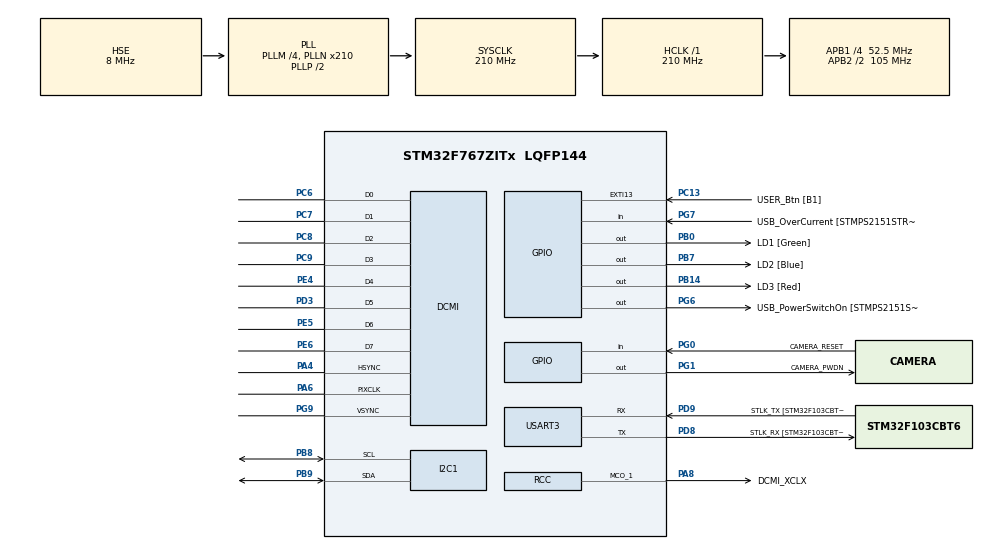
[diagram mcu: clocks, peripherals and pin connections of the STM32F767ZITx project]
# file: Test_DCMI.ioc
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Mcu.Family=STM32F7
NVIC.USART3_IRQn=true\:0\:0\:false\:false\:true\:true\:true
PA6.Mode=Slave_8_bits_External_Synchro
RCC.CortexFreq_Value=210000000
DCMI.HSPolarity=DCMI_HSPOLARITY_LOW
PG6.Signal=GPIO_Output
Dma.USART3_TX.1.MemInc=DMA_MINC_ENABLE
PB14.GPIO_Label=LD3 [Red]
PG6.GPIO_Label=USB_PowerSwitchOn [STMPS2151STR_EN]
PA14.GPIO_Label=TCK
PG0.Signal=GPIO_Input
RCC.SYSCLKSourceVirtual=RCC_SYSCLKSOURCE_PLLCLK
Dma.USART3_TX.1.PeriphDataAlignment=DMA_PDATAALIGN_BYTE
PB0.GPIO_Label=LD1 [Green]
PC14/OSC32_IN.Mode=LSE-External-Oscillator
Dma.DCMI.0.MemBurst=DMA_MBURST_SINGLE
Dma.USART3_TX.1.Instance=DMA1_Stream3
PC13.GPIO_Label=USER_Btn [B1]
PD9.Mode=Asynchronous
RCC.SYSCLKSource=RCC_SYSCLKSOURCE_PLLCLK
ProjectManager.StackSize=0x400
Dma.DCMI.0.FIFOMode=DMA_FIFOMODE_ENABLE
Dma.DCMI.0.MemDataAlignment=DMA_MDATAALIGN_BYTE
USART3.VirtualMode-Asynchronous=VM_ASYNC
Dma.DCMI.0.FIFOThreshold=DMA_FIFO_THRESHOLD_FULL
Dma.DCMI.0.MemInc=DMA_MINC_ENABLE
PA4.Mode=Slave_8_bits_External_Synchro
Dma.DCMI.0.PeriphDataAlignment=DMA_PDATAALIGN_WORD
PH0/OSC_IN.Mode=HSE-External-Clock-Source
RCC.HCLKFreq_Value=210000000
RCC.APB2TimFreq_Value=210000000
DCMI.VSPolarity=DCMI_VSPOLARITY_LOW
PC7.Signal=DCMI_D1
PH1/OSC_OUT.Signal=RCC_OSC_OUT
PD8.Signal=USART3_TX
PE5.Signal=DCMI_D6
RCC.AHBFreq_Value=210000000
RCC.HSE_VALUE=8000000
Dma.USART3_TX.1.Mode=DMA_NORMAL
RCC.PLLMUL=RCC_PLL_MUL9
DCMI.PCKPolarity=DCMI_PCKPOLARITY_RISING
PA14.Mode=Serial_Wire
PC9.Mode=Slave_8_bits_External_Synchro
PB7.Signal=GPIO_Output
PA8.Signal=RCC_MCO_1
Dma.DCMI.0.PeriphBurst=DMA_PBURST_SINGLE
PE4.Mode=Slave_8_bits_External_Synchro
PD3.Mode=Slave_8_bits_External_Synchro
PE4.Signal=DCMI_D4
PH1/OSC_OUT.Mode=HSE-External-Clock-Source
Dma.USART3_TX.1.FIFOMode=DMA_FIFOMODE_ENABLE
Dma.USART3_TX.1.Priority=DMA_PRIORITY_VERY_HIGH
PB7.GPIO_Label=LD2 [Blue]
Mcu.Package=LQFP144
PB9.Signal=I2C1_SDA
PA6.Signal=DCMI_PIXCLK
Dma.DCMI.0.Direction=DMA_PERIPH_TO_MEMORY
PC14/OSC32_IN.Signal=RCC_OSC32_IN
PG0.GPIO_Label=CAMERA_RESET
RCC.APB2CLKDivider=RCC_HCLK_DIV2
Dma.Request1=USART3_TX
RCC.APB1TimFreq_Value=105000000
Dma.USART3_TX.1.PeriphInc=DMA_PINC_DISABLE
Dma.USART3_TX.1.PeriphBurst=DMA_PBURST_SINGLE
VP_LIBJPEG_VS_JPEGLIB.Mode=Enabled
Dma.Request0=DCMI
PA8.GPIO_Speed=GPIO_SPEED_FREQ_VERY_HIGH
Dma.USART3_TX.1.FIFOThreshold=DMA_FIFO_THRESHOLD_FULL
RCC.PLLSourceVirtual=RCC_PLLSOURCE_HSE
Dma.USART3_TX.1.MemDataAlignment=DMA_MDATAALIGN_BYTE
PG7.Signal=GPIO_Input
PD9.GPIO_Label=STLK_TX [STM32F103CBT6_PA2]
PG1.Signal=GPIO_Output
PG9.Signal=DCMI_VSYNC
PC13.Signal=GPXTI13
Dma.USART3_TX.1.MemBurst=DMA_MBURST_SINGLE
PD3.Signal=DCMI_D5
PC8.Signal=DCMI_D2
PG9.Mode=Slave_8_bits_External_Synchro
PC6.Signal=DCMI_D0
PD9.Signal=USART3_RX
NVIC.DMA2_Stream1_IRQn=true\:0\:0\:false\:false\:true\:false\:true
RCC.APB1CLKDivider=RCC_HCLK_DIV4
PD8.GPIO_Label=STLK_RX [STM32F103CBT6_PA3]
PA13.Signal=SYS_JTMS-SWDIO
PA8.GPIO_Label=DCMI_XCLX
ProjectManager.TargetToolchain=STM32CubeIDE
PC6.Mode=Slave_8_bits_External_Synchro
PB9.Mode=I2C
Dma.DCMI.0.Instance=DMA2_Stream1
Dma.DCMI.0.Mode=DMA_CIRCULAR
I2C1.Timing=0x1060669A
RCC.USBFreq_Value=46666666.666666664
PD8.Mode=Asynchronous
DCMI.JPEGMode=DCMI_JPEG_ENABLE
PB14.Signal=GPIO_Output
board=NUCLEO-F767ZI
RCC.VCOOutputFreq_Value=420000000
PG1.GPIO_Label=CAMERA_PWDN
PH0/OSC_IN.Signal=RCC_OSC_IN
RCC.APB2Freq_Value=105000000
PE6.Mode=Slave_8_bits_External_Synchro
RCC.PRESCALERUSB=RCC_USBCLKSOURCE_PLL_DIV1_5
PG7.GPIO_Label=USB_OverCurrent [STMPS2151STR_FAULT]
PE5.Mode=Slave_8_bits_External_Synchro
PE6.Signal=DCMI_D7
PA13.Mode=Serial_Wire
Mcu.Name=STM32F767ZITx
PA13.GPIO_Label=TMS
PC8.Mode=Slave_8_bits_External_Synchro
RCC.48MHZClocksFreq_Value=24000000
PA4.Signal=DCMI_HSYNC
RCC.SYSCLKFreq_VALUE=210000000
PC15/OSC32_OUT.Mode=LSE-External-Oscillator
PA14.Signal=SYS_JTCK-SWCLK
ProjectManager.HeapSize=0x200
RCC.HSI_VALUE=16000000
PH0/OSC_IN.GPIO_Label=MCO [STM32F103CBT6_PA8]
RCC.PLLQ=9
NVIC.PriorityGroup=NVIC_PRIORITYGROUP_4
Dma.USART3_TX.1.Direction=DMA_MEMORY_TO_PERIPH
RCC.PLLM=4
PB8.Mode=I2C
RCC.PLLN=210
PB8.Signal=I2C1_SCL
NVIC.DMA1_Stream3_IRQn=true\:0\:0\:false\:false\:true\:false\:true
PC15/OSC32_OUT.Signal=RCC_OSC32_OUT
PA8.Mode=Clock-out-1
Dma.DCMI.0.PeriphInc=DMA_PINC_DISABLE
PC9.Signal=DCMI_D3
NVIC.DCMI_IRQn=true\:0\:0\:false\:false\:true\:true\:true
PC7.Mode=Slave_8_bits_External_Synchro
RCC.APB1Freq_Value=52500000
PB0.Signal=GPIO_Output
Dma.DCMI.0.Priority=DMA_PRIORITY_VERY_HIGH

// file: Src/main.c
/* USER CODE BEGIN Header */
/**
 ******************************************************************************
 * @file           : main.c
 * @brief          : Main program body
 ******************************************************************************
 * @attention
 *
 * 	Created on: 23.02.2019
 *	Modified on:  23.02.2021
 *
 *	Copyright 2021 SimpleMethod
 *
 *Permission is hereby granted, free of charge, to any person obtaining a copy of
 *this software and associated documentation files (the "Software"), to deal in
 *the Software without restriction, including without limitation the rights to
 *use, copy, modify, merge, publish, distribute, sublicense, and/or sell copies
 *of the Software, and to permit persons to whom the Software is furnished to do
 *so, subject to the following conditions:
 *
 *The above copyright notice and this permission notice shall be included in all
 *copies or substantial portions of the Software.
 *
 *THE SOFTWARE IS PROVIDED "AS IS", WITHOUT WARRANTY OF ANY KIND, EXPRESS OR
 *IMPLIED, INCLUDING BUT NOT LIMITED TO THE WARRANTIES OF MERCHANTABILITY,
 *FITNESS FOR A PARTICULAR PURPOSE AND NONINFRINGEMENT. IN NO EVENT SHALL THE
 *AUTHORS OR COPYRIGHT HOLDERS BE LIABLE FOR ANY CLAIM, DAMAGES OR OTHER
 *LIABILITY, WHETHER IN AN ACTION OF CONTRACT, TORT OR OTHERWISE, ARISING FROM,
 *OUT OF OR IN CONNECTION WITH THE SOFTWARE OR THE USE OR OTHER DEALINGS IN
 *THE SOFTWARE.
 ******************************************************************************
 */
/* USER CODE END Header */
#include "main.h"
#include "libjpeg.h"

/* USER CODE BEGIN Includes */
#include <stdio.h>
#include <stdarg.h>
#include <string.h>
#include <stdlib.h>
#include "ov2640.h"
#include "ov2640_libjpeg.h"
/* USER CODE END Includes */

/* USER CODE BEGIN PD */

/**
 * Code debugging option
 */
//#define DEBUG
/* USER CODE END PD */

DCMI_HandleTypeDef hdcmi;
DMA_HandleTypeDef hdma_dcmi;

I2C_HandleTypeDef hi2c1;

UART_HandleTypeDef huart3;
DMA_HandleTypeDef hdma_usart3_tx;

/* USER CODE BEGIN PV */

/**
 * Resolution selection
 */

//#define RES160X120
#define RES320X240
//#define RES640X480
//#define RES800x600
//#define RES1024x768
//#define RES1280x960

#ifdef RES160X120
enum imageResolution imgRes=RES_160X120;
uint8_t frameBuffer[RES_160X120] = { 0 };
#endif

#ifdef RES320X240
enum imageResolution imgRes = RES_320X240;
uint8_t frameBuffer[RES_320X240] = { 0 };
#endif

#ifdef RES640X480
enum imageResolution imgRes=RES_640X480;
uint8_t frameBuffer[RES_640X480] = { 0 };
#endif

#ifdef RES800x600
enum imageResolution imgRes=RES_800x600;
uint8_t frameBuffer[RES_800x600] = { 0 };
#endif

#ifdef RES1024x768
enum imageResolution imgRes=RES_1024x768;
uint8_t frameBuffer[RES_1024x768] = { 0 };
#endif

#ifdef RES1280x960
enum imageResolution imgRes = RES_1280x960;
uint8_t frameBuffer[RES_1280x960] = { 0 };
#endif

ushort mutex = 0;
uint16_t bufferPointer = 0;
ushort headerFound = 0;
uint8_t data_receive;

/**
 *  Image decoding and encoding section using the libjpeg library.
 */
unsigned long imageSize = 0;
uint8_t *imageBuffer = NULL;
/**
 *=================================================================
 */

/* USER CODE END PV */

void SystemClock_Config(void);
static void MX_GPIO_Init(void);
static void MX_DMA_Init(void);
static void MX_USART3_UART_Init(void);
static void MX_DCMI_Init(void);
static void MX_I2C1_Init(void);

/* USER CODE BEGIN 0 */
void vprint(const char *fmt, va_list argp) {
	char string[200];
	if (0 < vsprintf(string, fmt, argp)) // build string
			{
		HAL_UART_Transmit(&huart3, (uint8_t*) string, strlen(string), 0xffffff); // send message via UART
	}
}

void my_printf(const char *fmt, ...) // custom printf() function
{
	va_list argp;
	va_start(argp, fmt);
	vprint(fmt, argp);
	va_end(argp);
}
/* USER CODE END 0 */

int main(void) {

	/* MCU Configuration--------------------------------------------------------*/

	/* Reset of all peripherals, Initializes the Flash interface and the Systick. */
	HAL_Init();

	/* Configure the system clock */
	SystemClock_Config();

	/* Initialize all configured peripherals */
	MX_GPIO_Init();
	MX_DMA_Init();
	MX_USART3_UART_Init();
	MX_DCMI_Init();
	MX_I2C1_Init();
	MX_LIBJPEG_Init();
	/* USER CODE BEGIN 2 */
	OV2640_Init(&hi2c1, &hdcmi);
	HAL_Delay(10);
	OV2640_ResolutionOptions(imgRes);
	HAL_Delay(10);

	/**
	 * Extra options
	 */
	//OV2640_Brightness(Brightness_2);
	//HAL_Delay(10);
	//OV2640_Saturation(Saturation_2);
	//HAL_Delay(10);
	//OV2640_Contrast(Contrast_2);
	//HAL_Delay(10);
	//OV2640_SpecialEffect(Bluish);
	//HAL_Delay(10);
	OV2640_LightMode(Office);
	HAL_Delay(10);
#ifdef DEBUG
	my_printf("Finishing configuration \r\n");
#endif

	HAL_UART_Receive_IT(&huart3, &data_receive, 1);

	/* USER CODE END 2 */

	/* Infinite loop */
	/* USER CODE BEGIN WHILE */

	while (1) {

		if (data_receive == 0x63) { // Reading the c ASCII character in UART buffer takes photo capture.
			memset(frameBuffer, 0, sizeof frameBuffer);
			OV2640_CaptureSnapshot((uint32_t) frameBuffer, imgRes);
			while (1) {
				if (headerFound == 0 && frameBuffer[bufferPointer] == 0xFF
						&& frameBuffer[bufferPointer + 1] == 0xD8) {
					headerFound = 1;
#ifdef NEDEBUG
						my_printf("Found header of JPEG file \r\n");
					#endif
				}
				if (headerFound == 1 && frameBuffer[bufferPointer] == 0xFF
						&& frameBuffer[bufferPointer + 1] == 0xD9) {
					bufferPointer = bufferPointer + 2;
#ifdef NEDEBUG
						my_printf("Found EOI of JPEG file \r\n");
						#endif
					headerFound = 0;
					break;
				}
				if (bufferPointer >= 65535) {
					break;
				}
				bufferPointer++;
			}
#ifdef NEDEBUG
						my_printf("Image size: %d bytes \r\n",bufferPointer);
					#endif

			/**
			 *  Image decoding and encoding section using the libjpeg library.
			 *
			 */
			ov2640_decodeJPEG(frameBuffer, bufferPointer, 1); // Image decoding, grayscale selection.
			HAL_Delay(300);
			ov2640_encodeJPEG(&imageBuffer, &imageSize, 16); // Encoding image with quality set to 16%.
			HAL_UART_Transmit_DMA(&huart3, imageBuffer, imageSize); // Sending buffer to UART data output.
			HAL_Delay(300);
			/**
			 * ========================================================================
			 */
			bufferPointer = 0;
			mutex = 0;
			data_receive = 0xFF;
		} else {
			mutex = 1;
		}
		/* USER CODE END WHILE */

	}
}

void SystemClock_Config(void) {
	RCC_OscInitTypeDef RCC_OscInitStruct = { 0 };
	RCC_ClkInitTypeDef RCC_ClkInitStruct = { 0 };
	RCC_PeriphCLKInitTypeDef PeriphClkInitStruct = { 0 };

	/** Configure LSE Drive Capability
	 */
	HAL_PWR_EnableBkUpAccess();
	/** Configure the main internal regulator output voltage
	 */
	__HAL_RCC_PWR_CLK_ENABLE();
	__HAL_PWR_VOLTAGESCALING_CONFIG(PWR_REGULATOR_VOLTAGE_SCALE1);
	/** Initializes the RCC Oscillators according to the specified parameters
	 * in the RCC_OscInitTypeDef structure.
	 */
	RCC_OscInitStruct.OscillatorType = RCC_OSCILLATORTYPE_HSI
			| RCC_OSCILLATORTYPE_HSE;
	RCC_OscInitStruct.HSEState = RCC_HSE_BYPASS;
	RCC_OscInitStruct.HSIState = RCC_HSI_ON;
	RCC_OscInitStruct.HSICalibrationValue = RCC_HSICALIBRATION_DEFAULT;
	RCC_OscInitStruct.PLL.PLLState = RCC_PLL_ON;
	RCC_OscInitStruct.PLL.PLLSource = RCC_PLLSOURCE_HSE;
	RCC_OscInitStruct.PLL.PLLM = 4;
	RCC_OscInitStruct.PLL.PLLN = 210;
	RCC_OscInitStruct.PLL.PLLP = RCC_PLLP_DIV2;
	RCC_OscInitStruct.PLL.PLLQ = 9;
	if (HAL_RCC_OscConfig(&RCC_OscInitStruct) != HAL_OK) {
		Error_Handler();
	}
	/** Activate the Over-Drive mode
	 */
	if (HAL_PWREx_EnableOverDrive() != HAL_OK) {
		Error_Handler();
	}
	/** Initializes the CPU, AHB and APB buses clocks
	 */
	RCC_ClkInitStruct.ClockType = RCC_CLOCKTYPE_HCLK | RCC_CLOCKTYPE_SYSCLK
			| RCC_CLOCKTYPE_PCLK1 | RCC_CLOCKTYPE_PCLK2;
	RCC_ClkInitStruct.SYSCLKSource = RCC_SYSCLKSOURCE_PLLCLK;
	RCC_ClkInitStruct.AHBCLKDivider = RCC_SYSCLK_DIV1;
	RCC_ClkInitStruct.APB1CLKDivider = RCC_HCLK_DIV4;
	RCC_ClkInitStruct.APB2CLKDivider = RCC_HCLK_DIV2;

	if (HAL_RCC_ClockConfig(&RCC_ClkInitStruct, FLASH_LATENCY_6) != HAL_OK) {
		Error_Handler();
	}
	PeriphClkInitStruct.PeriphClockSelection = RCC_PERIPHCLK_USART3
			| RCC_PERIPHCLK_I2C1;
	PeriphClkInitStruct.Usart3ClockSelection = RCC_USART3CLKSOURCE_PCLK1;
	PeriphClkInitStruct.I2c1ClockSelection = RCC_I2C1CLKSOURCE_PCLK1;
	if (HAL_RCCEx_PeriphCLKConfig(&PeriphClkInitStruct) != HAL_OK) {
		Error_Handler();
	}
	HAL_RCC_MCOConfig(RCC_MCO1, RCC_MCO1SOURCE_HSI, RCC_MCODIV_1);
}

static void MX_DCMI_Init(void) {

	hdcmi.Instance = DCMI;
	hdcmi.Init.SynchroMode = DCMI_SYNCHRO_HARDWARE;
	hdcmi.Init.PCKPolarity = DCMI_PCKPOLARITY_RISING;
	hdcmi.Init.VSPolarity = DCMI_VSPOLARITY_LOW;
	hdcmi.Init.HSPolarity = DCMI_HSPOLARITY_LOW;
	hdcmi.Init.CaptureRate = DCMI_CR_ALL_FRAME;
	hdcmi.Init.ExtendedDataMode = DCMI_EXTEND_DATA_8B;
	hdcmi.Init.JPEGMode = DCMI_JPEG_ENABLE;
	hdcmi.Init.ByteSelectMode = DCMI_BSM_ALL;
	hdcmi.Init.ByteSelectStart = DCMI_OEBS_ODD;
	hdcmi.Init.LineSelectMode = DCMI_LSM_ALL;
	hdcmi.Init.LineSelectStart = DCMI_OELS_ODD;
	if (HAL_DCMI_Init(&hdcmi) != HAL_OK) {
		Error_Handler();
	}

}

static void MX_I2C1_Init(void) {

	hi2c1.Instance = I2C1;
	hi2c1.Init.Timing = 0x1060669A;
	hi2c1.Init.OwnAddress1 = 0;
	hi2c1.Init.AddressingMode = I2C_ADDRESSINGMODE_7BIT;
	hi2c1.Init.DualAddressMode = I2C_DUALADDRESS_DISABLE;
	hi2c1.Init.OwnAddress2 = 0;
	hi2c1.Init.OwnAddress2Masks = I2C_OA2_NOMASK;
	hi2c1.Init.GeneralCallMode = I2C_GENERALCALL_DISABLE;
	hi2c1.Init.NoStretchMode = I2C_NOSTRETCH_DISABLE;
	if (HAL_I2C_Init(&hi2c1) != HAL_OK) {
		Error_Handler();
	}
	/** Configure Analogue filter
	 */
	if (HAL_I2CEx_ConfigAnalogFilter(&hi2c1, I2C_ANALOGFILTER_ENABLE)
			!= HAL_OK) {
		Error_Handler();
	}
	/** Configure Digital filter
	 */
	if (HAL_I2CEx_ConfigDigitalFilter(&hi2c1, 0) != HAL_OK) {
		Error_Handler();
	}

}

static void MX_USART3_UART_Init(void) {

	huart3.Instance = USART3;
	huart3.Init.BaudRate = 115200;
	huart3.Init.WordLength = UART_WORDLENGTH_8B;
	huart3.Init.StopBits = UART_STOPBITS_1;
	huart3.Init.Parity = UART_PARITY_NONE;
	huart3.Init.Mode = UART_MODE_TX_RX;
	huart3.Init.HwFlowCtl = UART_HWCONTROL_NONE;
	huart3.Init.OverSampling = UART_OVERSAMPLING_16;
	huart3.Init.OneBitSampling = UART_ONE_BIT_SAMPLE_DISABLE;
	huart3.AdvancedInit.AdvFeatureInit = UART_ADVFEATURE_NO_INIT;
	if (HAL_UART_Init(&huart3) != HAL_OK) {
		Error_Handler();
	}

}

static void MX_DMA_Init(void) {

	/* DMA controller clock enable */
	__HAL_RCC_DMA2_CLK_ENABLE();
	__HAL_RCC_DMA1_CLK_ENABLE();

	/* DMA interrupt init */
	/* DMA1_Stream3_IRQn interrupt configuration */
	HAL_NVIC_SetPriority(DMA1_Stream3_IRQn, 0, 0);
	HAL_NVIC_EnableIRQ(DMA1_Stream3_IRQn);
	/* DMA2_Stream1_IRQn interrupt configuration */
	HAL_NVIC_SetPriority(DMA2_Stream1_IRQn, 0, 0);
	HAL_NVIC_EnableIRQ(DMA2_Stream1_IRQn);

}

static void MX_GPIO_Init(void) {
	GPIO_InitTypeDef GPIO_InitStruct = { 0 };

	/* GPIO Ports Clock Enable */
	__HAL_RCC_GPIOE_CLK_ENABLE();
	__HAL_RCC_GPIOC_CLK_ENABLE();
	__HAL_RCC_GPIOH_CLK_ENABLE();
	__HAL_RCC_GPIOA_CLK_ENABLE();
	__HAL_RCC_GPIOB_CLK_ENABLE();
	__HAL_RCC_GPIOG_CLK_ENABLE();
	__HAL_RCC_GPIOD_CLK_ENABLE();

	/*Configure GPIO pin Output Level */
	HAL_GPIO_WritePin(GPIOB, LD1_Pin | LD3_Pin | LD2_Pin, GPIO_PIN_RESET);

	/*Configure GPIO pin Output Level */
	HAL_GPIO_WritePin(GPIOG, CAMERA_PWDN_Pin | USB_PowerSwitchOn_Pin,
			GPIO_PIN_RESET);

	/*Configure GPIO pin : USER_Btn_Pin */
	GPIO_InitStruct.Pin = USER_Btn_Pin;
	GPIO_InitStruct.Mode = GPIO_MODE_IT_RISING;
	GPIO_InitStruct.Pull = GPIO_NOPULL;
	HAL_GPIO_Init(USER_Btn_GPIO_Port, &GPIO_InitStruct);

	/*Configure GPIO pins : LD1_Pin LD3_Pin LD2_Pin */
	GPIO_InitStruct.Pin = LD1_Pin | LD3_Pin | LD2_Pin;
	GPIO_InitStruct.Mode = GPIO_MODE_OUTPUT_PP;
	GPIO_InitStruct.Pull = GPIO_NOPULL;
	GPIO_InitStruct.Speed = GPIO_SPEED_FREQ_LOW;
	HAL_GPIO_Init(GPIOB, &GPIO_InitStruct);

	/*Configure GPIO pins : CAMERA_RESET_Pin USB_OverCurrent_Pin */
	GPIO_InitStruct.Pin = CAMERA_RESET_Pin | USB_OverCurrent_Pin;
	GPIO_InitStruct.Mode = GPIO_MODE_INPUT;
	GPIO_InitStruct.Pull = GPIO_NOPULL;
	HAL_GPIO_Init(GPIOG, &GPIO_InitStruct);

	/*Configure GPIO pins : CAMERA_PWDN_Pin USB_PowerSwitchOn_Pin */
	GPIO_InitStruct.Pin = CAMERA_PWDN_Pin | USB_PowerSwitchOn_Pin;
	GPIO_InitStruct.Mode = GPIO_MODE_OUTPUT_PP;
	GPIO_InitStruct.Pull = GPIO_NOPULL;
	GPIO_InitStruct.Speed = GPIO_SPEED_FREQ_LOW;
	HAL_GPIO_Init(GPIOG, &GPIO_InitStruct);

	/*Configure GPIO pin : DCMI_XCLX_Pin */
	GPIO_InitStruct.Pin = DCMI_XCLX_Pin;
	GPIO_InitStruct.Mode = GPIO_MODE_AF_PP;
	GPIO_InitStruct.Pull = GPIO_NOPULL;
	GPIO_InitStruct.Speed = GPIO_SPEED_FREQ_VERY_HIGH;
	GPIO_InitStruct.Alternate = GPIO_AF0_MCO;
	HAL_GPIO_Init(DCMI_XCLX_GPIO_Port, &GPIO_InitStruct);

}

/* USER CODE BEGIN 4 */
void HAL_UART_RxCpltCallback(UART_HandleTypeDef *huart) {
	HAL_UART_Receive_IT(&huart3, &data_receive, 1);

}
/* USER CODE END 4 */

void Error_Handler(void) {
}

/************************ (C) COPYRIGHT STMicroelectronics *****END OF FILE****/
